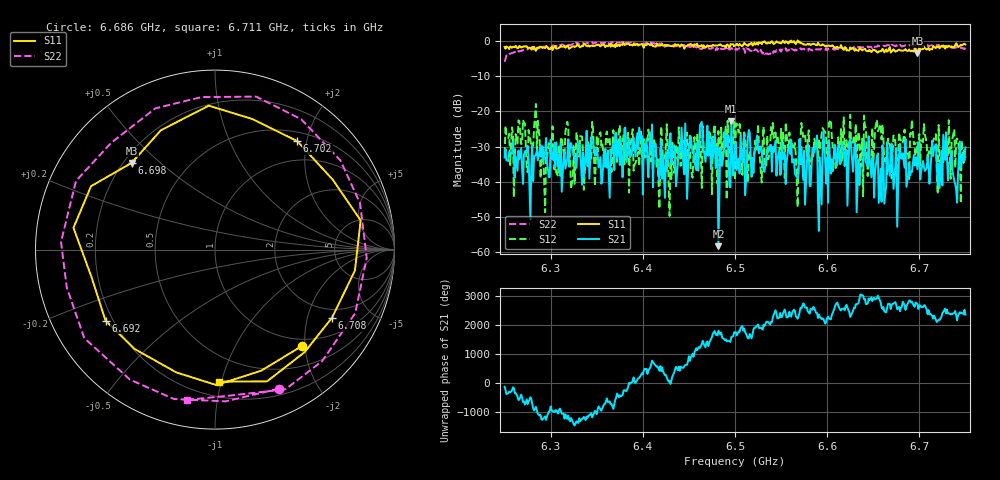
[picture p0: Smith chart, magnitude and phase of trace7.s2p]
# Hz S RI R 50
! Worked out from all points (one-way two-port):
!   401 points, 6.25 GHz to 6.75 GHz, reference 50 ohm
!   highest |S21| = -22.76 dB at 6.496 GHz (marker M1); lowest = -58.3 dB at 6.482 GHz (marker M2)
!   lowest |S11| = -3.5 dB at 6.698 GHz (marker M3), VSWR 5.07, Z = 11.6 + j20.3 ohm
!   |S11| at or under -10 dB: nowhere
!   |S22| runs from -5.9 to -0.2 dB; largest |S21 - S12| = 0.13
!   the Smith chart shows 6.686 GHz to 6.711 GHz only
!   S11 on the Smith chart (normalised r, x): 6.686 GHz: 0.86, -1.93; 6.692 GHz: 0.17, -0.29; 6.698 GHz: 0.23, +0.41; 6.702 GHz: 0.64, +1.83; 6.708 GHz: 1.62, -2.86; 6.711 GHz: 0.31, -0.98
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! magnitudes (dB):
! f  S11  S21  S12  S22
! 6.25 GHz  -1.7  -33.1  -32.2  -5.9
! 6.334 GHz  -1.4  -40.8  -27.2  -0.6
! 6.418 GHz  -1.4  -40.0  -47.6  -0.7
! 6.464 GHz  -1.2  -23.0  -41.8  -2.3
! 6.482 GHz  -1.2  -58.3  -25.6  -1.8
! 6.49 GHz  -1.9  -30.1  -24.1  -2.1
! 6.496 GHz  -1.0  -22.8  -30.5  -2.1
! 6.5 GHz  -1.3  -29.6  -39.6  -2.7
! 6.584 GHz  -0.9  -30.5  -31.7  -2.7
! 6.592 GHz  -1.2  -33.0  -30.8  -2.5
! 6.598 GHz  -1.6  -34.9  -25.9  -2.5
! 6.646 GHz  -2.6  -33.2  -34.4  -1.6
! 6.655 GHz  -3.3  -31.9  -25.7  -1.3
! 6.668 GHz  -1.8  -38.3  -29.6  -1.2
! 6.686 GHz  -2.8  -41.4  -32.6  -1.4
! 6.692 GHz  -2.8  -37.2  -22.4  -1.4
! 6.698 GHz  -3.5  -36.4  -28.8  -1.4
! 6.702 GHz  -2.4  -36.9  -28.2  -1.3
! 6.708 GHz  -2.4  -36.1  -29.1  -1.3
! 6.711 GHz  -2.7  -40.5  -31.0  -1.4
! 6.74 GHz  -0.7  -42.2  -28.5  -2.0
! 6.75 GHz  -1.0  -30.2  -33.2  -2.4
